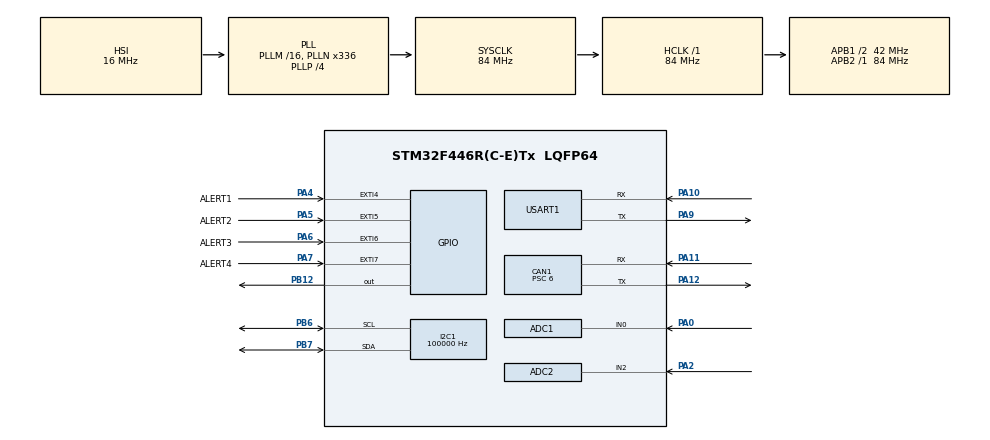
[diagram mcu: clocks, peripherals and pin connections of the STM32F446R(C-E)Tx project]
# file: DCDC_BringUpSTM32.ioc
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ADC1.Channel-0\#ChannelRegularConversion=ADC_CHANNEL_0
ADC1.ContinuousConvMode=ENABLE
ADC1.DMAContinuousRequests=ENABLE
ADC1.NbrOfConversion=1
ADC1.NbrOfConversionFlag=1
ADC1.Rank-0\#ChannelRegularConversion=1
ADC1.SamplingTime-0\#ChannelRegularConversion=ADC_SAMPLETIME_144CYCLES
ADC1.master=1
ADC2.Channel-0\#ChannelRegularConversion=ADC_CHANNEL_2
ADC2.ContinuousConvMode=ENABLE
ADC2.DMAContinuousRequests=ENABLE
ADC2.NbrOfConversionFlag=1
ADC2.Rank-0\#ChannelRegularConversion=1
ADC2.SamplingTime-0\#ChannelRegularConversion=ADC_SAMPLETIME_144CYCLES
CAN1.BS1=CAN_BS1_11TQ
CAN1.BS2=CAN_BS2_2TQ
CAN1.CalculateBaudRate=500000
CAN1.CalculateTimeBit=2000
CAN1.CalculateTimeQuantum=142.85714285714286
CAN1.NART=ENABLE
CAN1.Prescaler=6
Dma.ADC1.0.Direction=DMA_PERIPH_TO_MEMORY
Dma.ADC1.0.FIFOMode=DMA_FIFOMODE_DISABLE
Dma.ADC1.0.Instance=DMA2_Stream0
Dma.ADC1.0.MemDataAlignment=DMA_MDATAALIGN_HALFWORD
Dma.ADC1.0.MemInc=DMA_MINC_ENABLE
Dma.ADC1.0.Mode=DMA_CIRCULAR
Dma.ADC1.0.PeriphDataAlignment=DMA_PDATAALIGN_HALFWORD
Dma.ADC1.0.PeriphInc=DMA_PINC_DISABLE
Dma.ADC1.0.Priority=DMA_PRIORITY_LOW
Dma.ADC2.1.Direction=DMA_PERIPH_TO_MEMORY
Dma.ADC2.1.FIFOMode=DMA_FIFOMODE_DISABLE
Dma.ADC2.1.Instance=DMA2_Stream2
Dma.ADC2.1.MemDataAlignment=DMA_MDATAALIGN_HALFWORD
Dma.ADC2.1.MemInc=DMA_MINC_ENABLE
Dma.ADC2.1.Mode=DMA_CIRCULAR
Dma.ADC2.1.PeriphDataAlignment=DMA_PDATAALIGN_HALFWORD
Dma.ADC2.1.PeriphInc=DMA_PINC_DISABLE
Dma.ADC2.1.Priority=DMA_PRIORITY_LOW
Dma.Request0=ADC1
Dma.Request1=ADC2
I2C1.ClockSpeed=100000
I2C1.I2C_Mode=I2C_Standard
Mcu.Family=STM32F4
Mcu.Name=STM32F446R(C-E)Tx
Mcu.Package=LQFP64
NVIC.DMA2_Stream0_IRQn=true\:0\:0\:false\:false\:true\:false\:true\:true
NVIC.DMA2_Stream2_IRQn=true\:0\:0\:false\:false\:true\:false\:true\:true
NVIC.EXTI4_IRQn=true\:1\:0\:true\:false\:true\:true\:true\:true
NVIC.EXTI9_5_IRQn=true\:1\:0\:true\:false\:true\:true\:true\:true
NVIC.PriorityGroup=NVIC_PRIORITYGROUP_4
NVIC.USART1_IRQn=true\:0\:0\:false\:false\:true\:true\:true\:true
PA0-WKUP.Signal=ADCx_IN0
PA10.Mode=Asynchronous
PA10.Signal=USART1_RX
PA11.Mode=CAN_Activate
PA11.Signal=CAN1_RX
PA12.Mode=CAN_Activate
PA12.Signal=CAN1_TX
PA13.Mode=Serial_Wire
PA13.Signal=SYS_JTMS-SWDIO
PA14.Mode=Serial_Wire
PA14.Signal=SYS_JTCK-SWCLK
PA2.Signal=ADCx_IN2
PA4.GPIO_Label=ALERT1
PA4.GPIO_ModeDefaultEXTI=GPIO_MODE_IT_FALLING
PA4.Signal=GPXTI4
PA5.GPIO_Label=ALERT2
PA5.GPIO_ModeDefaultEXTI=GPIO_MODE_IT_FALLING
PA5.Signal=GPXTI5
PA6.GPIO_Label=ALERT3
PA6.GPIO_ModeDefaultEXTI=GPIO_MODE_IT_FALLING
PA6.Signal=GPXTI6
PA7.GPIO_Label=ALERT4
PA7.GPIO_ModeDefaultEXTI=GPIO_MODE_IT_FALLING
PA7.Signal=GPXTI7
PA9.Mode=Asynchronous
PA9.Signal=USART1_TX
PB12.Signal=GPIO_Output
PB6.Mode=I2C
PB6.Signal=I2C1_SCL
PB7.Mode=I2C
PB7.Signal=I2C1_SDA
ProjectManager.HeapSize=0x200
ProjectManager.StackSize=0x400
ProjectManager.TargetToolchain=STM32CubeIDE
RCC.AHBFreq_Value=84000000
RCC.APB1CLKDivider=RCC_HCLK_DIV2
RCC.APB1Freq_Value=42000000
RCC.APB1TimFreq_Value=84000000
RCC.APB2Freq_Value=84000000
RCC.APB2TimFreq_Value=84000000
RCC.CortexFreq_Value=84000000
RCC.HCLKFreq_Value=84000000
RCC.PLLN=336
RCC.PLLP=RCC_PLLP_DIV4
RCC.SYSCLKFreq_VALUE=84000000
RCC.SYSCLKSource=RCC_SYSCLKSOURCE_PLLCLK
RCC.USBFreq_Value=168000000
RCC.VCOOutputFreq_Value=336000000
SH.ADCx_IN0.0=ADC1_IN0,IN0
SH.ADCx_IN2.0=ADC2_IN2,IN2
TIM2.Period=0xFFFFFFFF
TIM2.Prescaler=83
USART1.VirtualMode=VM_ASYNC
VP_TIM2_VS_ClockSourceINT.Mode=Internal
board=custom

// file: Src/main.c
/* USER CODE BEGIN Header */
/**
  ******************************************************************************
  * @file           : main.c
  * @brief          : Main program body
  ******************************************************************************
  * @attention
  *
  * Copyright (c) 2026 STMicroelectronics.
  * All rights reserved.
  *
  * This software is licensed under terms that can be found in the LICENSE file
  * in the root directory of this software component.
  * If no LICENSE file comes with this software, it is provided AS-IS.
  *
  ******************************************************************************
  */
/* USER CODE END Header */
#include "main.h"

/* USER CODE BEGIN Includes */
#include "uart.h"
#include "cli.h"
#include "i2c.h"
#include "adc.h"
#include "can.h"
#include "timers.h"
#include <string.h>
/* USER CODE END Includes */

ADC_HandleTypeDef hadc1;
ADC_HandleTypeDef hadc2;
DMA_HandleTypeDef hdma_adc1;
DMA_HandleTypeDef hdma_adc2;

CAN_HandleTypeDef hcan1;

I2C_HandleTypeDef hi2c1;

TIM_HandleTypeDef htim2;

UART_HandleTypeDef huart1;

/* USER CODE BEGIN PV */
Alarm_st alarms = {0, 0, 0, 0, 0, 0};
uint8_t SysLog = FALSE;
/* USER CODE END PV */

void SystemClock_Config(void);
static void MX_GPIO_Init(void);
static void MX_DMA_Init(void);
static void MX_ADC1_Init(void);
static void MX_ADC2_Init(void);
static void MX_CAN1_Init(void);
static void MX_I2C1_Init(void);
static void MX_USART1_UART_Init(void);
static void MX_TIM2_Init(void);

/* USER CODE BEGIN 0 */
static void Respond_UART();
static HAL_StatusTypeDef Telemetry(uint8_t * data);
static HAL_StatusTypeDef SendTelemetry(uint8_t alarmFlags);
/* USER CODE END 0 */

int main(void)
{

  /* MCU Configuration--------------------------------------------------------*/

  /* Reset of all peripherals, Initializes the Flash interface and the Systick. */
  HAL_Init();

  /* Configure the system clock */
  SystemClock_Config();

  /* Initialize all configured peripherals */
  MX_GPIO_Init();
  MX_DMA_Init();
  MX_ADC1_Init();
  MX_ADC2_Init();
  MX_CAN1_Init();
  MX_I2C1_Init();
  MX_USART1_UART_Init();
  MX_TIM2_Init();
  /* USER CODE BEGIN 2 */
  if(UART_Init(&huart1) != HAL_OK) Error_Handler();
  if(UART_StartReceiveIT() != HAL_OK) Error_Handler();
//  if(I2C_Init(&hi2c1) != HAL_OK) Error_Handler();
  if(ADC_App_Init() != HAL_OK) Error_Handler();
  if(CAN_Init(&hcan1) != HAL_OK) Error_Handler();

  if(CLI_Init() != HAL_OK) Error_Handler();

  HAL_TIM_Base_Start(&htim2);

  /* USER CODE END 2 */

  /* Infinite loop */
  /* USER CODE BEGIN WHILE */
  while (1)
  {
	uint32_t loop_start_us = microsec();
	// Read UART
	if(CLI_Process() != HAL_OK) Error_Handler();

	// Check high SHUNT ALERTs
	for (uint8_t i = 0; i < NUM_SENSORS; i++)
	{
		if (sensors[i].alert_flag)
		{
			sensors[i].alert_flag = 0;
			if(I2C_HandleAlert(&hi2c1, i) != HAL_OK) Error_Handler();
		}
	}

	// Update readings and check values every 10ms. Send CAN if high alert
	if(SysTimer_10ms()) {
		ADC_UpdateReadings();

		alarms.in = (ADC_GetRawIn() > IN_CUR_THR);
		alarms.can = (ADC_GetRawCan() > CAN_CUR_THR);

		if(alarms.in || alarms.can || alarms.load1 || alarms.load2 || alarms.load3 || alarms.load4) {
			uint8_t flags = (uint8_t)((alarms.in    ? 0x01 : 0) | (alarms.can   ? 0x02 : 0) |
			                          (alarms.load1 ? 0x04 : 0) | (alarms.load2 ? 0x08 : 0) |
			                          (alarms.load3 ? 0x10 : 0) | (alarms.load4 ? 0x20 : 0));

			if(SendTelemetry(flags) != HAL_OK) Error_Handler();

			alarms.in = 0;
			alarms.can = 0;
			alarms.load1 = 0;
			alarms.load2 = 0;
			alarms.load3 = 0;
			alarms.load4 = 0;
		}
	}

	// Send normal data every 250 ms
	if(SysTimer_250ms()) {
		if(SendTelemetry(0) != HAL_OK) Error_Handler();
	}

	// Respond to UART CLI
	Respond_UART();

	if(SysLog && SysTimer_10ms()) {
		char msg[16];
		snprintf(msg, 16,"%lu us", microsec() - loop_start_us);
        if(UART_SendLine(msg) != HAL_OK) Error_Handler();
	}

    /* USER CODE END WHILE */

  }
}

void SystemClock_Config(void)
{
  RCC_OscInitTypeDef RCC_OscInitStruct = {0};
  RCC_ClkInitTypeDef RCC_ClkInitStruct = {0};

  /** Configure the main internal regulator output voltage
  */
  __HAL_RCC_PWR_CLK_ENABLE();
  __HAL_PWR_VOLTAGESCALING_CONFIG(PWR_REGULATOR_VOLTAGE_SCALE3);

  /** Initializes the RCC Oscillators according to the specified parameters
  * in the RCC_OscInitTypeDef structure.
  */
  RCC_OscInitStruct.OscillatorType = RCC_OSCILLATORTYPE_HSI;
  RCC_OscInitStruct.HSIState = RCC_HSI_ON;
  RCC_OscInitStruct.HSICalibrationValue = RCC_HSICALIBRATION_DEFAULT;
  RCC_OscInitStruct.PLL.PLLState = RCC_PLL_ON;
  RCC_OscInitStruct.PLL.PLLSource = RCC_PLLSOURCE_HSI;
  RCC_OscInitStruct.PLL.PLLM = 16;
  RCC_OscInitStruct.PLL.PLLN = 336;
  RCC_OscInitStruct.PLL.PLLP = RCC_PLLP_DIV4;
  RCC_OscInitStruct.PLL.PLLQ = 2;
  RCC_OscInitStruct.PLL.PLLR = 2;
  if (HAL_RCC_OscConfig(&RCC_OscInitStruct) != HAL_OK)
  {
    Error_Handler();
  }

  /** Initializes the CPU, AHB and APB buses clocks
  */
  RCC_ClkInitStruct.ClockType = RCC_CLOCKTYPE_HCLK|RCC_CLOCKTYPE_SYSCLK
                              |RCC_CLOCKTYPE_PCLK1|RCC_CLOCKTYPE_PCLK2;
  RCC_ClkInitStruct.SYSCLKSource = RCC_SYSCLKSOURCE_PLLCLK;
  RCC_ClkInitStruct.AHBCLKDivider = RCC_SYSCLK_DIV1;
  RCC_ClkInitStruct.APB1CLKDivider = RCC_HCLK_DIV2;
  RCC_ClkInitStruct.APB2CLKDivider = RCC_HCLK_DIV1;

  if (HAL_RCC_ClockConfig(&RCC_ClkInitStruct, FLASH_LATENCY_2) != HAL_OK)
  {
    Error_Handler();
  }
}

static void MX_ADC1_Init(void)
{

  ADC_ChannelConfTypeDef sConfig = {0};

  /** Configure the global features of the ADC (Clock, Resolution, Data Alignment and number of conversion)
  */
  hadc1.Instance = ADC1;
  hadc1.Init.ClockPrescaler = ADC_CLOCK_SYNC_PCLK_DIV4;
  hadc1.Init.Resolution = ADC_RESOLUTION_12B;
  hadc1.Init.ScanConvMode = DISABLE;
  hadc1.Init.ContinuousConvMode = ENABLE;
  hadc1.Init.DiscontinuousConvMode = DISABLE;
  hadc1.Init.ExternalTrigConvEdge = ADC_EXTERNALTRIGCONVEDGE_NONE;
  hadc1.Init.ExternalTrigConv = ADC_SOFTWARE_START;
  hadc1.Init.DataAlign = ADC_DATAALIGN_RIGHT;
  hadc1.Init.NbrOfConversion = 1;
  hadc1.Init.DMAContinuousRequests = ENABLE;
  hadc1.Init.EOCSelection = ADC_EOC_SINGLE_CONV;
  if (HAL_ADC_Init(&hadc1) != HAL_OK)
  {
    Error_Handler();
  }

  /** Configure for the selected ADC regular channel its corresponding rank in the sequencer and its sample time.
  */
  sConfig.Channel = ADC_CHANNEL_0;
  sConfig.Rank = 1;
  sConfig.SamplingTime = ADC_SAMPLETIME_144CYCLES;
  if (HAL_ADC_ConfigChannel(&hadc1, &sConfig) != HAL_OK)
  {
    Error_Handler();
  }

}

static void MX_ADC2_Init(void)
{

  ADC_ChannelConfTypeDef sConfig = {0};

  /** Configure the global features of the ADC (Clock, Resolution, Data Alignment and number of conversion)
  */
  hadc2.Instance = ADC2;
  hadc2.Init.ClockPrescaler = ADC_CLOCK_SYNC_PCLK_DIV4;
  hadc2.Init.Resolution = ADC_RESOLUTION_12B;
  hadc2.Init.ScanConvMode = DISABLE;
  hadc2.Init.ContinuousConvMode = ENABLE;
  hadc2.Init.DiscontinuousConvMode = DISABLE;
  hadc2.Init.ExternalTrigConvEdge = ADC_EXTERNALTRIGCONVEDGE_NONE;
  hadc2.Init.ExternalTrigConv = ADC_SOFTWARE_START;
  hadc2.Init.DataAlign = ADC_DATAALIGN_RIGHT;
  hadc2.Init.NbrOfConversion = 1;
  hadc2.Init.DMAContinuousRequests = ENABLE;
  hadc2.Init.EOCSelection = ADC_EOC_SINGLE_CONV;
  if (HAL_ADC_Init(&hadc2) != HAL_OK)
  {
    Error_Handler();
  }

  /** Configure for the selected ADC regular channel its corresponding rank in the sequencer and its sample time.
  */
  sConfig.Channel = ADC_CHANNEL_2;
  sConfig.Rank = 1;
  sConfig.SamplingTime = ADC_SAMPLETIME_144CYCLES;
  if (HAL_ADC_ConfigChannel(&hadc2, &sConfig) != HAL_OK)
  {
    Error_Handler();
  }

}

static void MX_CAN1_Init(void)
{

  /* USER CODE BEGIN CAN1_Init 0 */
	__HAL_RCC_CAN1_CLK_ENABLE(); // Uncomment if CAN still error init.
  /* USER CODE END CAN1_Init 0 */

  hcan1.Instance = CAN1;
  hcan1.Init.Prescaler = 6;
  hcan1.Init.Mode = CAN_MODE_NORMAL;
  hcan1.Init.SyncJumpWidth = CAN_SJW_1TQ;
  hcan1.Init.TimeSeg1 = CAN_BS1_11TQ;
  hcan1.Init.TimeSeg2 = CAN_BS2_2TQ;
  hcan1.Init.TimeTriggeredMode = DISABLE;
  hcan1.Init.AutoBusOff = DISABLE;
  hcan1.Init.AutoWakeUp = DISABLE;
  hcan1.Init.AutoRetransmission = ENABLE;
  hcan1.Init.ReceiveFifoLocked = DISABLE;
  hcan1.Init.TransmitFifoPriority = DISABLE;
  if (HAL_CAN_Init(&hcan1) != HAL_OK)
  {
    Error_Handler();
  }

}

static void MX_I2C1_Init(void)
{

  hi2c1.Instance = I2C1;
  hi2c1.Init.ClockSpeed = 100000;
  hi2c1.Init.DutyCycle = I2C_DUTYCYCLE_2;
  hi2c1.Init.OwnAddress1 = 0;
  hi2c1.Init.AddressingMode = I2C_ADDRESSINGMODE_7BIT;
  hi2c1.Init.DualAddressMode = I2C_DUALADDRESS_DISABLE;
  hi2c1.Init.OwnAddress2 = 0;
  hi2c1.Init.GeneralCallMode = I2C_GENERALCALL_DISABLE;
  hi2c1.Init.NoStretchMode = I2C_NOSTRETCH_DISABLE;
  if (HAL_I2C_Init(&hi2c1) != HAL_OK)
  {
    Error_Handler();
  }

}

static void MX_TIM2_Init(void)
{

  TIM_ClockConfigTypeDef sClockSourceConfig = {0};
  TIM_MasterConfigTypeDef sMasterConfig = {0};

  htim2.Instance = TIM2;
  htim2.Init.Prescaler = 83;
  htim2.Init.CounterMode = TIM_COUNTERMODE_UP;
  htim2.Init.Period = 0xFFFFFFFF;
  htim2.Init.ClockDivision = TIM_CLOCKDIVISION_DIV1;
  htim2.Init.AutoReloadPreload = TIM_AUTORELOAD_PRELOAD_DISABLE;
  if (HAL_TIM_Base_Init(&htim2) != HAL_OK)
  {
    Error_Handler();
  }
  sClockSourceConfig.ClockSource = TIM_CLOCKSOURCE_INTERNAL;
  if (HAL_TIM_ConfigClockSource(&htim2, &sClockSourceConfig) != HAL_OK)
  {
    Error_Handler();
  }
  sMasterConfig.MasterOutputTrigger = TIM_TRGO_RESET;
  sMasterConfig.MasterSlaveMode = TIM_MASTERSLAVEMODE_DISABLE;
  if (HAL_TIMEx_MasterConfigSynchronization(&htim2, &sMasterConfig) != HAL_OK)
  {
    Error_Handler();
  }

}

static void MX_USART1_UART_Init(void)
{

  huart1.Instance = USART1;
  huart1.Init.BaudRate = 115200;
  huart1.Init.WordLength = UART_WORDLENGTH_8B;
  huart1.Init.StopBits = UART_STOPBITS_1;
  huart1.Init.Parity = UART_PARITY_NONE;
  huart1.Init.Mode = UART_MODE_TX_RX;
  huart1.Init.HwFlowCtl = UART_HWCONTROL_NONE;
  huart1.Init.OverSampling = UART_OVERSAMPLING_16;
  if (HAL_UART_Init(&huart1) != HAL_OK)
  {
    Error_Handler();
  }

}

static void MX_DMA_Init(void)
{

  /* DMA controller clock enable */
  __HAL_RCC_DMA2_CLK_ENABLE();

  /* DMA interrupt init */
  /* DMA2_Stream0_IRQn interrupt configuration */
  HAL_NVIC_SetPriority(DMA2_Stream0_IRQn, 0, 0);
  HAL_NVIC_EnableIRQ(DMA2_Stream0_IRQn);
  /* DMA2_Stream2_IRQn interrupt configuration */
  HAL_NVIC_SetPriority(DMA2_Stream2_IRQn, 0, 0);
  HAL_NVIC_EnableIRQ(DMA2_Stream2_IRQn);

}

static void MX_GPIO_Init(void)
{
  GPIO_InitTypeDef GPIO_InitStruct = {0};

  /* GPIO Ports Clock Enable */
  __HAL_RCC_GPIOA_CLK_ENABLE();
  __HAL_RCC_GPIOB_CLK_ENABLE();

  /*Configure GPIO pin Output Level */
  HAL_GPIO_WritePin(GPIOB, GPIO_PIN_12, GPIO_PIN_RESET);

  /*Configure GPIO pins : ALERT1_Pin ALERT2_Pin ALERT3_Pin ALERT4_Pin */
  GPIO_InitStruct.Pin = ALERT1_Pin|ALERT2_Pin|ALERT3_Pin|ALERT4_Pin;
  GPIO_InitStruct.Mode = GPIO_MODE_IT_FALLING;
  GPIO_InitStruct.Pull = GPIO_NOPULL;
  HAL_GPIO_Init(GPIOA, &GPIO_InitStruct);

  /*Configure GPIO pin : PB12 */
  GPIO_InitStruct.Pin = GPIO_PIN_12;
  GPIO_InitStruct.Mode = GPIO_MODE_OUTPUT_PP;
  GPIO_InitStruct.Pull = GPIO_NOPULL;
  GPIO_InitStruct.Speed = GPIO_SPEED_FREQ_LOW;
  HAL_GPIO_Init(GPIOB, &GPIO_InitStruct);

  /* EXTI interrupt init*/
  HAL_NVIC_SetPriority(EXTI4_IRQn, 1, 0);
  HAL_NVIC_EnableIRQ(EXTI4_IRQn);

  HAL_NVIC_SetPriority(EXTI9_5_IRQn, 1, 0);
  HAL_NVIC_EnableIRQ(EXTI9_5_IRQn);

}

/* USER CODE BEGIN 4 */
static void Respond_UART()
{
	if(g_inPwr_readFlag == 1 || g_canPwr_readFlag == 1)
		{
		    if(ADC_UpdateReadings() == HAL_OK)  // only print if fresh data was available
		    {
		        if(g_inPwr_readFlag == 1) {
		            char msg[MAX_SEND_LENGTH];
		            snprintf(msg, sizeof(msg), "inADC: %d inCur: %d mA\r\n>",
		                ADC_GetRawIn(),
		                (int)(((ADC_GetVoltageIn() - ADC_VQUIESCENT) / ADC_SENS) * 1000));
		            if(UART_SendLine(msg) != HAL_OK) Error_Handler();
		            g_inPwr_readFlag = 0;
		        }

		        if(g_canPwr_readFlag == 1) {
		            char msg[MAX_SEND_LENGTH];
		            snprintf(msg, sizeof(msg), "canADC: %d canCur: %d mA\r\n>",
		                ADC_GetRawCan(),
		                (int)(((ADC_GetVoltageCan() - ADC_VQUIESCENT) / ADC_SENS) * 1000));
		            if(UART_SendLine(msg) != HAL_OK) Error_Handler();
		            g_canPwr_readFlag = 0;
		        }
		    }
		    // if HAL_BUSY, loop comes back around and tries again next iteration
		}

		if(g_shunt_readFlag == 1) {
			char msg[MAX_SEND_LENGTH];
			if(I2C_ReadCurrents(&hi2c1, msg, MAX_SEND_LENGTH) != HAL_OK) Error_Handler();
			if(UART_SendLine(msg) != HAL_OK) Error_Handler();
			g_shunt_readFlag = 0;
		}
}

static HAL_StatusTypeDef Telemetry(uint8_t * data) {
	// Data is 16 bit per sensor, sent Big Endian in the following order (INPUT, CAN, LOAD 1 to 4)
	int16_t inCur = (int)(((ADC_GetVoltageIn() - ADC_VQUIESCENT) / ADC_SENS) * 1000);
	int16_t canCur = (int)(((ADC_GetVoltageCan() - ADC_VQUIESCENT) / ADC_SENS) * 1000);

	data[0] = (inCur & 0xFF00) >> 8;
	data[1] = inCur & 0xFF;

	data[2] = (canCur & 0xFF00) >> 8;
	data[3] = canCur & 0xFF;

	return I2C_ReadCurrents_CAN(&hi2c1, (uint8_t*)(data + 4));
}

// Sends the telemetry as two 8-byte frames on CAN_DCDC_ID; see can.h for the layout.
static HAL_StatusTypeDef SendTelemetry(uint8_t alarmFlags) {
	uint8_t telemetry[CAN_TELEMETRY_LENGTH];
	uint8_t frame[CAN_FRAME_LENGTH] = {0};

	if(Telemetry(telemetry) != HAL_OK) return HAL_ERROR;

	frame[0] = 0;
	memcpy(&frame[1], &telemetry[0], 6);	// in, CAN, load 1
	frame[7] = alarmFlags;
	if(CAN_Transmit(CAN_DCDC_ID, frame, CAN_FRAME_LENGTH) != HAL_OK) return HAL_ERROR;

	frame[0] = 1;
	memcpy(&frame[1], &telemetry[6], 6);	// load 2 to 4
	frame[7] = 0;
	return CAN_Transmit(CAN_DCDC_ID, frame, CAN_FRAME_LENGTH);
}

/* USER CODE END 4 */

void Error_Handler(void)
{
  __disable_irq();
  while (1)
  {
  }
}
